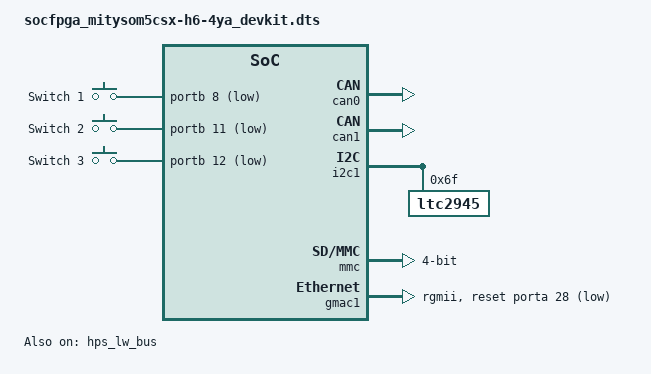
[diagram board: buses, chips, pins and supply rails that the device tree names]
#include "socfpga_mitysom5csx.dtsi"
#include <dt-bindings/interrupt-controller/irq.h>

/ {
	aliases {
		/* this allow the ethaddr uboot environmnet variable contents
		 * to be added to the gmac1 device tree blob.
		 */
		ethernet0 = &gmac1;
	};

	gpio_keys {
		compatible = "gpio-keys";
		#address-cells = <1>;
		#size-cells = <0>;
		/* GPIO 37 */
		button@1 {
			label = "Switch 1";
			linux,code = <0x101>;
			gpios = <&portb 8 1>;
			debounce-interval = <100>;
		};
		/* GPIO 40 */
		button@2 {
			label = "Switch 2";
			linux,code = <0x102>;
			gpios = <&portb 11 1>;
			debounce-interval = <100>;
		};
		/* GPIO 41 */
		button@3 {
			label = "Switch 3";
			linux,code = <0x103>;
			gpios = <&portb 12 1>;
			debounce-interval = <100>;
		};
	};
};
&can0 { 
	status = "okay";
};

&can1 {
	status = "okay";
};

&i2c1 {
	speed-mode = <0>;
	status = "okay";
    /* Power Monitor */
	ltc2945@6F {
		compatible = "ltc2945";
		reg = <0x6F>;
    };
};

&hps_lw_bus {
	status = "okay";

	sysid_qsys: sysid@000000 {
		compatible = "altr,sysid-1.0";
		reg = <0x000000 0x08>;
	};

	pio_0: gpio@0020 {
		compatible = "altr,pio-1.0";
		reg = <0x0020 0x20>;
		interrupts = <0 40 4>;
		altr,gpio-bank-width = <32>;
		altr,interrupt-type = <IRQ_TYPE_EDGE_RISING>;
		#gpio-cells = <1>;
		gpio-controller;
		#interrupt-cells = <1>;
		interrupt-controller;
	};

	pio_1: gpio@0040 {
		compatible = "altr,pio-1.0";
		reg = <0x0040 0x20>;
		interrupts = <0 41 4>;
		altr,gpio-bank-width = <32>;
		altr,interrupt-type = <IRQ_TYPE_EDGE_RISING>;
		#gpio-cells = <1>;
		gpio-controller;
		#interrupt-cells = <1>;
		interrupt-controller;
	};

	pio_2: gpio@0060 {
		compatible = "altr,pio-1.0";
		reg = <0x0060 0x20>;
		interrupts = <0 42 4>;
		altr,gpio-bank-width = <32>;
		altr,interrupt-type = <IRQ_TYPE_EDGE_RISING>;
		#gpio-cells = <1>;
		gpio-controller;
		#interrupt-cells = <1>;
		interrupt-controller;
	};

	pio_3: gpio@0080 {
		compatible = "altr,pio-1.0";
		reg = <0x0080 0x20>;
		interrupts = <0 43 4>;
		altr,gpio-bank-width = <29>;
		altr,interrupt-type = <IRQ_TYPE_EDGE_RISING>;
		#gpio-cells = <1>;
		gpio-controller;
		#interrupt-cells = <1>;
		interrupt-controller;
	};
};

&mmc {
	status = "okay";
	num-slots = <1>;
	broken-cd;
	cap-mmc-highspeed;
	cap-sd-highspeed;
	altr,dw-mshc-ciu-div = <3>;
	altr,dw-mshc-sdr-timing = <0 3>;
	bus-width = <4>;
};

&gmac1 {
	status = "okay";
	phy-mode = "rgmii";
	
	txd0-skew-ps = <0>;
	txd1-skew-ps = <0>;
	txd2-skew-ps = <0>;
	txd3-skew-ps = <0>;
	rxd0-skew-ps = <420>;
	rxd1-skew-ps = <420>;
	rxd2-skew-ps = <420>;
	rxd3-skew-ps = <420>;
	txen-skew-ps = <0>;
	txc-skew-ps = <1860>;
	rxdv-skew-ps = <420>;
	rxc-skew-ps = <1680>;
	
	max-frame-size = <3800>;
		
	snps,reset-delays-us = <0 10000 1000000>;
	snps,reset-gpio = <&porta 28 1>; 			
	snps,reset-active-low;
};
